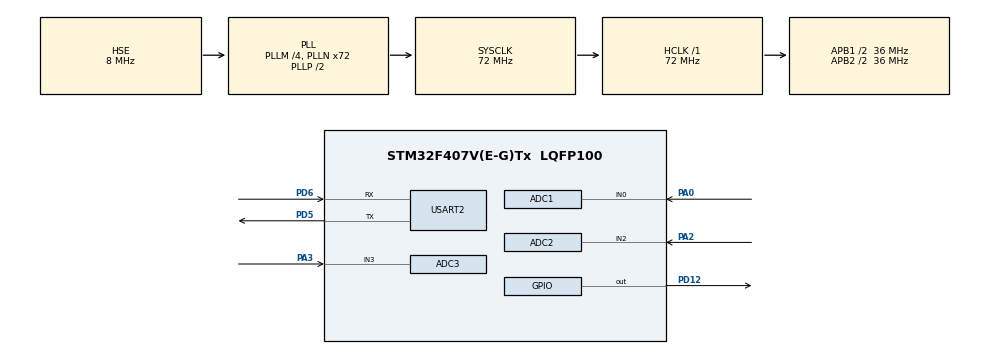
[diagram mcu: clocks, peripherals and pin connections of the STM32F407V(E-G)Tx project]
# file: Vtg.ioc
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ADC1.Channel-0\#ChannelRegularConversion=ADC_CHANNEL_0
ADC1.NbrOfConversionFlag=1
ADC1.Rank-0\#ChannelRegularConversion=1
ADC1.SamplingTime-0\#ChannelRegularConversion=ADC_SAMPLETIME_3CYCLES
ADC1.master=1
ADC2.Channel-1\#ChannelRegularConversion=ADC_CHANNEL_2
ADC2.NbrOfConversionFlag=1
ADC2.Rank-1\#ChannelRegularConversion=1
ADC2.SamplingTime-1\#ChannelRegularConversion=ADC_SAMPLETIME_3CYCLES
ADC3.Channel-0\#ChannelRegularConversion=ADC_CHANNEL_3
ADC3.NbrOfConversionFlag=1
ADC3.Rank-0\#ChannelRegularConversion=1
ADC3.SamplingTime-0\#ChannelRegularConversion=ADC_SAMPLETIME_3CYCLES
Mcu.Family=STM32F4
Mcu.Name=STM32F407V(E-G)Tx
Mcu.Package=LQFP100
NVIC.PriorityGroup=NVIC_PRIORITYGROUP_0
NVIC.USART2_IRQn=true\:0\:0\:false\:false\:true\:true\:true\:true
PA0-WKUP.Signal=ADCx_IN0
PA2.Signal=ADCx_IN2
PA3.Signal=ADCx_IN3
PD12.Signal=GPIO_Output
PD5.Mode=Asynchronous
PD5.Signal=USART2_TX
PD6.Mode=Asynchronous
PD6.Signal=USART2_RX
PH0-OSC_IN.Mode=HSE-External-Oscillator
PH0-OSC_IN.Signal=RCC_OSC_IN
PH1-OSC_OUT.Mode=HSE-External-Oscillator
PH1-OSC_OUT.Signal=RCC_OSC_OUT
ProjectManager.HeapSize=0x200
ProjectManager.StackSize=0x400
ProjectManager.TargetToolchain=STM32CubeIDE
RCC.48MHZClocksFreq_Value=20571428.57142857
RCC.AHBFreq_Value=72000000
RCC.APB1CLKDivider=RCC_HCLK_DIV2
RCC.APB1Freq_Value=36000000
RCC.APB1TimFreq_Value=72000000
RCC.APB2CLKDivider=RCC_HCLK_DIV2
RCC.APB2Freq_Value=36000000
RCC.APB2TimFreq_Value=72000000
RCC.CortexFreq_Value=72000000
RCC.HCLKFreq_Value=72000000
RCC.HSE_VALUE=8000000
RCC.HSI_VALUE=16000000
RCC.LSE_VALUE=32768
RCC.PLLM=4
RCC.PLLN=72
RCC.PLLQ=7
RCC.PLLSourceVirtual=RCC_PLLSOURCE_HSE
RCC.SYSCLKFreq_VALUE=72000000
RCC.SYSCLKSource=RCC_SYSCLKSOURCE_PLLCLK
RCC.VCOOutputFreq_Value=144000000
SH.ADCx_IN0.0=ADC1_IN0,IN0
SH.ADCx_IN2.0=ADC2_IN2,IN2
SH.ADCx_IN3.0=ADC3_IN3,IN3
USART2.VirtualMode=VM_ASYNC
board=STM32F407G-DISC1

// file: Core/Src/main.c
/* USER CODE BEGIN Header */
/**
  ******************************************************************************
  * @file           : main.c
  * @brief          : Main program body
  ******************************************************************************
  * @attention
  *
  * Copyright (c) 2024 STMicroelectronics.
  * All rights reserved.
  *
  * This software is licensed under terms that can be found in the LICENSE file
  * in the root directory of this software component.
  * If no LICENSE file comes with this software, it is provided AS-IS.
  *
  ******************************************************************************
  */
/* USER CODE END Header */
/* I-ncludes ------------------------------------------------------------------*/
#include "main.h"

/* USER CODE BEGIN Includes */
#include <stdio.h>
#include "i2c-lcd.h"
#define SENSOR_ZERO_POINT_VOLTAGE 2.5
#define SENSOR_SENSITIVITY 0.185
/* USER CODE END Includes */

ADC_HandleTypeDef hadc1;
ADC_HandleTypeDef hadc2;
ADC_HandleTypeDef hadc3;

UART_HandleTypeDef huart2;

void SystemClock_Config(void);
static void MX_GPIO_Init(void);
static void MX_ADC1_Init(void);
static void MX_ADC2_Init(void);
static void MX_ADC3_Init(void);
static void MX_USART2_UART_Init(void);

/* USER CODE BEGIN 0 */
uint32_t valV;
uint32_t valT;
float vtg;
int temp =0;
char str[20];

void vtgRead(void){
	HAL_ADC_Start(&hadc1);
	HAL_ADC_PollForConversion(&hadc1, HAL_MAX_DELAY);
	valV = HAL_ADC_GetValue(&hadc1);
	vtg = valV / 1241;

}

void TempRead(void){
	HAL_ADC_Start(&hadc3);
	HAL_ADC_PollForConversion(&hadc3, HAL_MAX_DELAY);
	valT = HAL_ADC_GetValue(&hadc3);
	temp = valT / 12;
}
/* USER CODE END 0 */
float Read_Current(void) {
    uint32_t adc_value;
    float voltage;
    float current;

    HAL_ADC_Start(&hadc1);
    if (HAL_ADC_PollForConversion(&hadc1, HAL_MAX_DELAY) == HAL_OK) {
        adc_value = HAL_ADC_GetValue(&hadc1);  // Read the ADC value
    }
    HAL_ADC_Stop(&hadc1);

    voltage = (adc_value / 4095.0) * 3.3;

    current = (voltage - SENSOR_ZERO_POINT_VOLTAGE) / SENSOR_SENSITIVITY;

    return current;
}
int main(void)
{

  /* USER CODE BEGIN 1 */
	char str[20];
  /* USER CODE END 1 */

  /* MCU Configuration--------------------------------------------------------*/

  /* Reset of all peripherals, Initializes the Flash interface and the Systick. */
  HAL_Init();

  /* Configure the system clock */
  SystemClock_Config();

  /* Initialize all configured peripherals */
  MX_GPIO_Init();
  MX_ADC1_Init();
  MX_ADC2_Init();
  MX_ADC3_Init();
  MX_USART2_UART_Init();
  /* USER CODE BEGIN 2 */
lcd_init();
lcd_clear();
  /* USER CODE END 2 */

  /* Infinite loop */
  /* USER CODE BEGIN WHILE */
  while (1)
  {
	  vtgRead();
	  TempRead();
	  sprintf(str,"Voltage = %d V",vtg);
	  lcd_send_command(0x80|0x00);
	  lcd_send_string(str);

	  sprintf(str,"Temp = %d",temp);
	  lcd_send_command(0x80|0x40);
	  lcd_send_string(str);
	  current = Read_Current();
    /* USER CODE END WHILE */

  }
}

void SystemClock_Config(void)
{
  RCC_OscInitTypeDef RCC_OscInitStruct = {0};
  RCC_ClkInitTypeDef RCC_ClkInitStruct = {0};

  /** Configure the main internal regulator output voltage
  */
  __HAL_RCC_PWR_CLK_ENABLE();
  __HAL_PWR_VOLTAGESCALING_CONFIG(PWR_REGULATOR_VOLTAGE_SCALE1);

  /** Initializes the RCC Oscillators according to the specified parameters
  * in the RCC_OscInitTypeDef structure.
  */
  RCC_OscInitStruct.OscillatorType = RCC_OSCILLATORTYPE_HSE;
  RCC_OscInitStruct.HSEState = RCC_HSE_ON;
  RCC_OscInitStruct.PLL.PLLState = RCC_PLL_ON;
  RCC_OscInitStruct.PLL.PLLSource = RCC_PLLSOURCE_HSE;
  RCC_OscInitStruct.PLL.PLLM = 4;
  RCC_OscInitStruct.PLL.PLLN = 72;
  RCC_OscInitStruct.PLL.PLLP = RCC_PLLP_DIV2;
  RCC_OscInitStruct.PLL.PLLQ = 7;
  if (HAL_RCC_OscConfig(&RCC_OscInitStruct) != HAL_OK)
  {
    Error_Handler();
  }

  /** Initializes the CPU, AHB and APB buses clocks
  */
  RCC_ClkInitStruct.ClockType = RCC_CLOCKTYPE_HCLK|RCC_CLOCKTYPE_SYSCLK
                              |RCC_CLOCKTYPE_PCLK1|RCC_CLOCKTYPE_PCLK2;
  RCC_ClkInitStruct.SYSCLKSource = RCC_SYSCLKSOURCE_PLLCLK;
  RCC_ClkInitStruct.AHBCLKDivider = RCC_SYSCLK_DIV1;
  RCC_ClkInitStruct.APB1CLKDivider = RCC_HCLK_DIV2;
  RCC_ClkInitStruct.APB2CLKDivider = RCC_HCLK_DIV2;

  if (HAL_RCC_ClockConfig(&RCC_ClkInitStruct, FLASH_LATENCY_2) != HAL_OK)
  {
    Error_Handler();
  }
}

static void MX_ADC1_Init(void)
{

  ADC_ChannelConfTypeDef sConfig = {0};

  /** Configure the global features of the ADC (Clock, Resolution, Data Alignment and number of conversion)
  */
  hadc1.Instance = ADC1;
  hadc1.Init.ClockPrescaler = ADC_CLOCK_SYNC_PCLK_DIV2;
  hadc1.Init.Resolution = ADC_RESOLUTION_12B;
  hadc1.Init.ScanConvMode = DISABLE;
  hadc1.Init.ContinuousConvMode = DISABLE;
  hadc1.Init.DiscontinuousConvMode = DISABLE;
  hadc1.Init.ExternalTrigConvEdge = ADC_EXTERNALTRIGCONVEDGE_NONE;
  hadc1.Init.ExternalTrigConv = ADC_SOFTWARE_START;
  hadc1.Init.DataAlign = ADC_DATAALIGN_RIGHT;
  hadc1.Init.NbrOfConversion = 1;
  hadc1.Init.DMAContinuousRequests = DISABLE;
  hadc1.Init.EOCSelection = ADC_EOC_SINGLE_CONV;
  if (HAL_ADC_Init(&hadc1) != HAL_OK)
  {
    Error_Handler();
  }

  /** Configure for the selected ADC regular channel its corresponding rank in the sequencer and its sample time.
  */
  sConfig.Channel = ADC_CHANNEL_0;
  sConfig.Rank = 1;
  sConfig.SamplingTime = ADC_SAMPLETIME_3CYCLES;
  if (HAL_ADC_ConfigChannel(&hadc1, &sConfig) != HAL_OK)
  {
    Error_Handler();
  }

}

static void MX_ADC2_Init(void)
{

  ADC_ChannelConfTypeDef sConfig = {0};

  /** Configure the global features of the ADC (Clock, Resolution, Data Alignment and number of conversion)
  */
  hadc2.Instance = ADC2;
  hadc2.Init.ClockPrescaler = ADC_CLOCK_SYNC_PCLK_DIV2;
  hadc2.Init.Resolution = ADC_RESOLUTION_12B;
  hadc2.Init.ScanConvMode = DISABLE;
  hadc2.Init.ContinuousConvMode = DISABLE;
  hadc2.Init.DiscontinuousConvMode = DISABLE;
  hadc2.Init.ExternalTrigConvEdge = ADC_EXTERNALTRIGCONVEDGE_NONE;
  hadc2.Init.ExternalTrigConv = ADC_SOFTWARE_START;
  hadc2.Init.DataAlign = ADC_DATAALIGN_RIGHT;
  hadc2.Init.NbrOfConversion = 1;
  hadc2.Init.DMAContinuousRequests = DISABLE;
  hadc2.Init.EOCSelection = ADC_EOC_SINGLE_CONV;
  if (HAL_ADC_Init(&hadc2) != HAL_OK)
  {
    Error_Handler();
  }

  /** Configure for the selected ADC regular channel its corresponding rank in the sequencer and its sample time.
  */
  sConfig.Channel = ADC_CHANNEL_2;
  sConfig.Rank = 1;
  sConfig.SamplingTime = ADC_SAMPLETIME_3CYCLES;
  if (HAL_ADC_ConfigChannel(&hadc2, &sConfig) != HAL_OK)
  {
    Error_Handler();
  }

}

static void MX_ADC3_Init(void)
{

  ADC_ChannelConfTypeDef sConfig = {0};

  /** Configure the global features of the ADC (Clock, Resolution, Data Alignment and number of conversion)
  */
  hadc3.Instance = ADC3;
  hadc3.Init.ClockPrescaler = ADC_CLOCK_SYNC_PCLK_DIV2;
  hadc3.Init.Resolution = ADC_RESOLUTION_12B;
  hadc3.Init.ScanConvMode = DISABLE;
  hadc3.Init.ContinuousConvMode = DISABLE;
  hadc3.Init.DiscontinuousConvMode = DISABLE;
  hadc3.Init.ExternalTrigConvEdge = ADC_EXTERNALTRIGCONVEDGE_NONE;
  hadc3.Init.ExternalTrigConv = ADC_SOFTWARE_START;
  hadc3.Init.DataAlign = ADC_DATAALIGN_RIGHT;
  hadc3.Init.NbrOfConversion = 1;
  hadc3.Init.DMAContinuousRequests = DISABLE;
  hadc3.Init.EOCSelection = ADC_EOC_SINGLE_CONV;
  if (HAL_ADC_Init(&hadc3) != HAL_OK)
  {
    Error_Handler();
  }

  /** Configure for the selected ADC regular channel its corresponding rank in the sequencer and its sample time.
  */
  sConfig.Channel = ADC_CHANNEL_3;
  sConfig.Rank = 1;
  sConfig.SamplingTime = ADC_SAMPLETIME_3CYCLES;
  if (HAL_ADC_ConfigChannel(&hadc3, &sConfig) != HAL_OK)
  {
    Error_Handler();
  }

}

static void MX_USART2_UART_Init(void)
{

  huart2.Instance = USART2;
  huart2.Init.BaudRate = 115200;
  huart2.Init.WordLength = UART_WORDLENGTH_8B;
  huart2.Init.StopBits = UART_STOPBITS_1;
  huart2.Init.Parity = UART_PARITY_NONE;
  huart2.Init.Mode = UART_MODE_TX_RX;
  huart2.Init.HwFlowCtl = UART_HWCONTROL_NONE;
  huart2.Init.OverSampling = UART_OVERSAMPLING_16;
  if (HAL_UART_Init(&huart2) != HAL_OK)
  {
    Error_Handler();
  }

}

static void MX_GPIO_Init(void)
{
  GPIO_InitTypeDef GPIO_InitStruct = {0};

  /* GPIO Ports Clock Enable */
  __HAL_RCC_GPIOH_CLK_ENABLE();
  __HAL_RCC_GPIOA_CLK_ENABLE();
  __HAL_RCC_GPIOD_CLK_ENABLE();

  /*Configure GPIO pin Output Level */
  HAL_GPIO_WritePin(GPIOD, GPIO_PIN_12, GPIO_PIN_RESET);

  /*Configure GPIO pin : PD12 */
  GPIO_InitStruct.Pin = GPIO_PIN_12;
  GPIO_InitStruct.Mode = GPIO_MODE_OUTPUT_PP;
  GPIO_InitStruct.Pull = GPIO_NOPULL;
  GPIO_InitStruct.Speed = GPIO_SPEED_FREQ_LOW;
  HAL_GPIO_Init(GPIOD, &GPIO_InitStruct);

}

void Error_Handler(void)
{
  __disable_irq();
  while (1)
  {
  }
}
